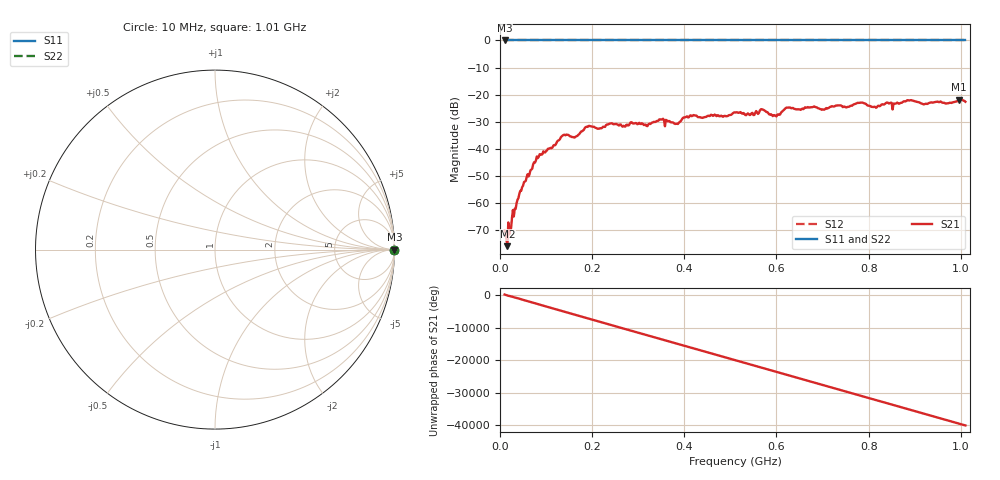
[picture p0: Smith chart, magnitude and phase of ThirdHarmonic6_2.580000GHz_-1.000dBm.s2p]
! 8/17/2025 5:27:34 AM
! C:\ANRITSUVNA\TEMP\TEMP.S2P
! CHANNEL.1
! TR.MEASUREMENT
! RAW.DATA
! RF.CORRECTION.OFF
! AVERAGING.OFF
! IF.BANDWIDTH: 5KHZ
! SWEEPTYPE:  FREQ.SWEEP(Linear)
! Reference Plane Port Info
! PORT:  PORT1  PORT2
! DISTANCE:  0  m  0  m
! TIME:  0  s  0  s
! PHASE.OFFSET:  0  deg.  0  deg.
! LOSS:  0  dB  0  dB
! REF.LOSS:  0  dB  0  dB
! REF.FREQ:  0  Hz  0  Hz
! Power Info
! POWER:  -20  dBm  -20  dBm
! EFF.POWER:  -20  dBm  -20  dBm
! SOURCE.ATTEN:  0  dB  0  dB
! TEST.ATTEN:  0  dB  0  dB
# GHZ S RI R 50.0
! FREQ.GHZ  S11RE  S11IM  S21RE  S21IM  S12RE  S12IM  S22RE  S22IM
!; PortSelection: Port_12
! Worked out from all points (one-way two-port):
!   501 points, 10 MHz to 1.01 GHz, reference 50 ohm
!   highest |S21| = -21.82 dB at 996 MHz (marker M1); lowest = -76.0 dB at 16 MHz (marker M2)
!   lowest |S11| = 0.0 dB at 10 MHz (marker M3)
!   |S11| at or under -10 dB: nowhere
!   |S22| runs from 0.0 to 0.0 dB; largest |S21 - S12| = 1.1
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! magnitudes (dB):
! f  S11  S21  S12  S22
! 10 MHz  0.0  -70.1  0.0  0.0
! 16 MHz  0.0  -76.0  0.0  0.0
! 46 MHz  0.0  -55.5  0.0  0.0
! 82 MHz  0.0  -43.5  0.0  0.0
! 136 MHz  0.0  -35.1  0.0  0.0
! 162 MHz  0.0  -35.9  0.0  0.0
! 178 MHz  0.0  -33.5  0.0  0.0
! 192 MHz  0.0  -31.6  0.0  0.0
! 316 MHz  0.0  -31.0  0.0  0.0
! 344 MHz  0.0  -29.6  0.0  0.0
! 382 MHz  0.0  -30.8  0.0  0.0
! 416 MHz  0.0  -28.0  0.0  0.0
! 510 MHz  0.0  -26.6  0.0  0.0
! 570 MHz  0.0  -25.5  0.0  0.0
! 596 MHz  0.0  -27.6  0.0  0.0
! 624 MHz  0.0  -24.8  0.0  0.0
! 678 MHz  0.0  -24.6  0.0  0.0
! 784 MHz  0.0  -23.0  0.0  0.0
! 814 MHz  0.0  -24.5  0.0  0.0
! 844 MHz  0.0  -23.3  0.0  0.0
! 996 MHz  0.0  -21.8  0.0  0.0
! 1.01 GHz  0.0  -22.6  0.0  0.0
